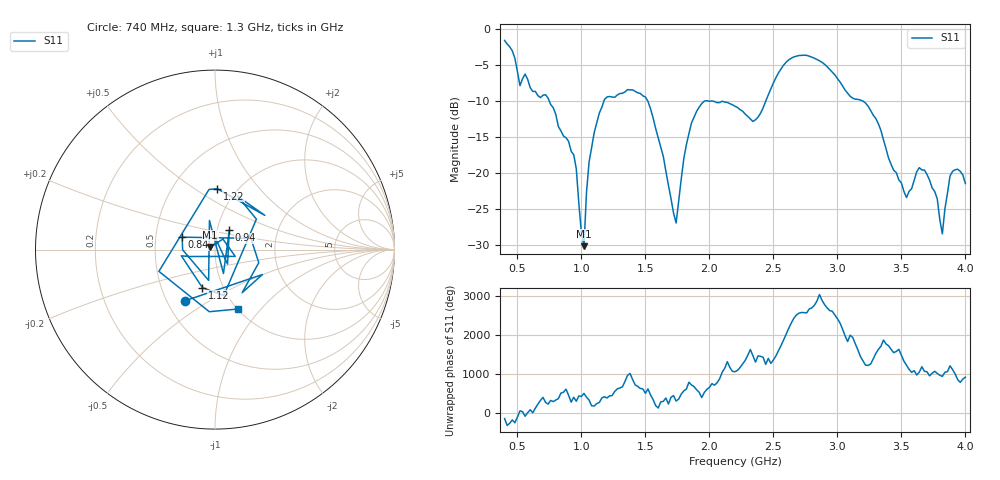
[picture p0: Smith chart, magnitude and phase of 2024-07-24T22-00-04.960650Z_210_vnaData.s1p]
!Created with skrf (http://scikit-rf.org).
# Hz S RI R 50.0
!freq ReS11 ImS11
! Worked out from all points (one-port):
!   181 points, 400 MHz to 4 GHz, reference 50 ohm
!   lowest |S11| = -30.2 dB at 1.02 GHz (marker M1), VSWR 1.06, Z = 47.4 + j1.41 ohm
!   |S11| at or under -10 dB: 748.6 MHz to 1.176 GHz (427.9 MHz wide, 44.5 % of centre); 1.518 GHz to 1.968 GHz (450.2 MHz wide, 25.8 % of centre); 3.197 GHz to end of sweep (the widest 3 of 5)
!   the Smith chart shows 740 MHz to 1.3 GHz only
!   S11 on the Smith chart (normalised r, x): 740 MHz: 0.62, -0.40; 840 MHz: 0.68, +0.10; 940 MHz: 1.14, +0.25; 1.12 GHz: 0.80, -0.36; 1.22 GHz: 0.81, +0.62; 1.3 GHz: 1.01, -0.76
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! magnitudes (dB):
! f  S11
! 400 MHz  -1.6
! 520 MHz  -7.9
! 740 MHz  -9.6
! 840 MHz  -14.2
! 860 MHz  -14.9
! 940 MHz  -17.5
! 1.02 GHz  -30.2
! 1.06 GHz  -18.5
! 1.12 GHz  -13.0
! 1.22 GHz  -9.4
! 1.3 GHz  -9.0
! 1.52 GHz  -10.1
! 1.74 GHz  -27.0
! 1.76 GHz  -23.9
! 1.82 GHz  -16.1
! 1.9 GHz  -11.5
! 2.2 GHz  -10.7
! 2.36 GHz  -12.6
! 2.66 GHz  -3.9
! 2.88 GHz  -4.6
! 3.1 GHz  -9.4
! 3.3 GHz  -12.4
! 3.56 GHz  -22.6
! 3.68 GHz  -19.6
! 3.78 GHz  -23.6
! 3.82 GHz  -28.5
! 3.88 GHz  -20.4
! 4 GHz  -21.5
